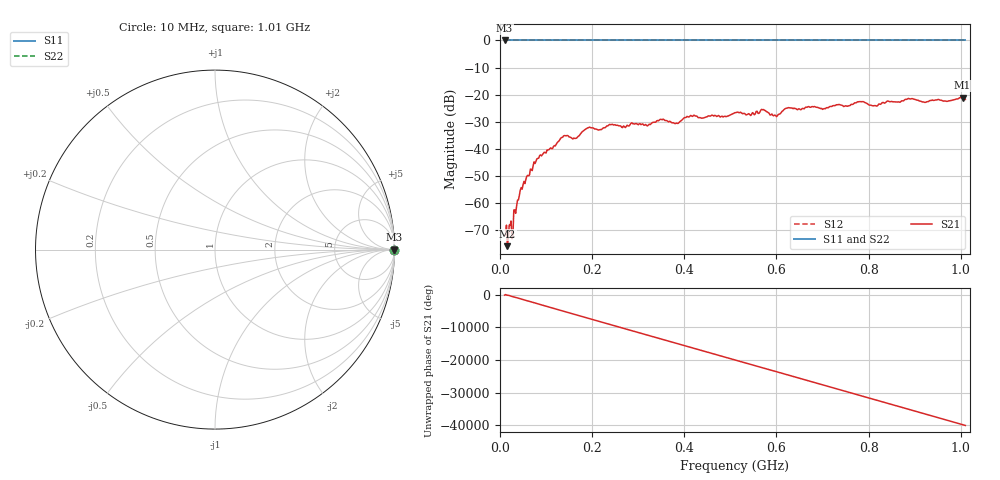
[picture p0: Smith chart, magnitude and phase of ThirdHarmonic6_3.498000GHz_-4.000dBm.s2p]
! 8/17/2025 11:24:59 AM
! C:\ANRITSUVNA\TEMP\TEMP.S2P
! CHANNEL.1
! TR.MEASUREMENT
! RAW.DATA
! RF.CORRECTION.OFF
! AVERAGING.OFF
! IF.BANDWIDTH: 5KHZ
! SWEEPTYPE:  FREQ.SWEEP(Linear)
! Reference Plane Port Info
! PORT:  PORT1  PORT2
! DISTANCE:  0  m  0  m
! TIME:  0  s  0  s
! PHASE.OFFSET:  0  deg.  0  deg.
! LOSS:  0  dB  0  dB
! REF.LOSS:  0  dB  0  dB
! REF.FREQ:  0  Hz  0  Hz
! Power Info
! POWER:  -20  dBm  -20  dBm
! EFF.POWER:  -20  dBm  -20  dBm
! SOURCE.ATTEN:  0  dB  0  dB
! TEST.ATTEN:  0  dB  0  dB
# GHZ S RI R 50.0
! FREQ.GHZ  S11RE  S11IM  S21RE  S21IM  S12RE  S12IM  S22RE  S22IM
!; PortSelection: Port_12
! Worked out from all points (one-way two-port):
!   501 points, 10 MHz to 1.01 GHz, reference 50 ohm
!   highest |S21| = -21.07 dB at 1.004 GHz (marker M1); lowest = -75.9 dB at 16 MHz (marker M2)
!   lowest |S11| = 0.0 dB at 10 MHz (marker M3)
!   |S11| at or under -10 dB: nowhere
!   |S22| runs from 0.0 to 0.0 dB; largest |S21 - S12| = 1.1
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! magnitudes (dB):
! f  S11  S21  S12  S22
! 10 MHz  0.0  -71.7  0.0  0.0
! 16 MHz  0.0  -75.9  0.0  0.0
! 30 MHz  0.0  -62.5  0.0  0.0
! 34 MHz  0.0  -63.8  0.0  0.0
! 48 MHz  0.0  -54.9  0.0  0.0
! 78 MHz  0.0  -44.6  0.0  0.0
! 136 MHz  0.0  -35.7  0.0  0.0
! 162 MHz  0.0  -36.1  0.0  0.0
! 178 MHz  0.0  -33.7  0.0  0.0
! 192 MHz  0.0  -32.2  0.0  0.0
! 322 MHz  0.0  -31.2  0.0  0.0
! 344 MHz  0.0  -29.6  0.0  0.0
! 384 MHz  0.0  -30.5  0.0  0.0
! 410 MHz  0.0  -28.2  0.0  0.0
! 510 MHz  0.0  -26.6  0.0  0.0
! 570 MHz  0.0  -25.6  0.0  0.0
! 598 MHz  0.0  -27.6  0.0  0.0
! 624 MHz  0.0  -24.9  0.0  0.0
! 678 MHz  0.0  -24.4  0.0  0.0
! 844 MHz  0.0  -22.5  0.0  0.0
! 1.004 GHz  0.0  -21.1  0.0  0.0
! 1.01 GHz  0.0  -21.7  0.0  0.0
